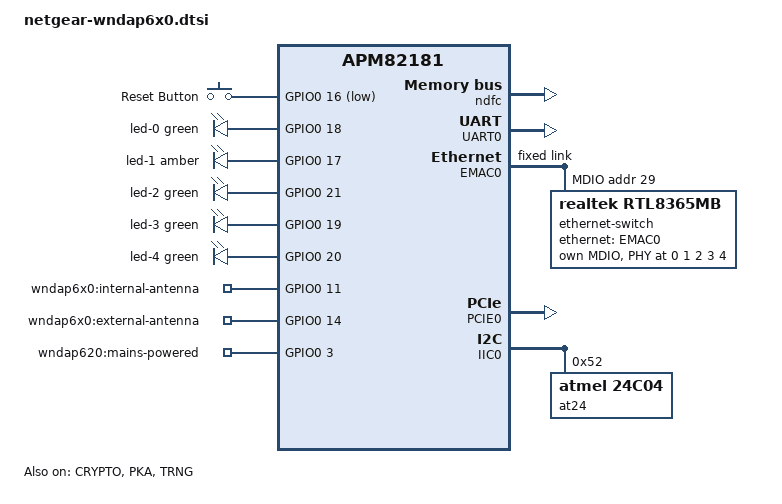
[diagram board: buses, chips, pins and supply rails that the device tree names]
// SPDX-License-Identifier: GPL-2.0-only
/*
 * Device Tree Source for Netgear WNDAP620 and WNDAP660
 */

#include <dt-bindings/leds/common.h>
#include "apm82181.dtsi"

/ {
	aliases {
		serial0 = &UART0;
	};

	chosen {
		stdout-path = "/plb/opb/serial@ef600300";
	};
};

&CRYPTO {
	status = "okay";
};

&PKA {
	status = "okay";
};

&TRNG {
	status = "okay";
};

&ndfc {
	status = "okay";
	/* 32 MiB SLC NAND Flash */

	nand {
		nand-is-boot-medium;

		partitions {
			compatible = "fixed-partitions";
			#address-cells = <1>;
			#size-cells = <1>;

			partition@0 {
				label = "u-boot";
				reg = <0x00000000 0x00100000>;
				read-only;
			};

			partition@100000 {
				label = "u-boot-env";
				reg = <0x00100000 0x0004000>;
				read-only;

				nvmem-layout {
					compatible = "u-boot,env";

					ethaddr {
					};

					bootcmd {
					};

					serno {
					};

					ProductID {
					};

					HardwareVer {
					};
				};
			};

			/* 0x104000 - 0x10ffff free */

			partition@110000 {
				label = "firmware";
				reg = <0x00110000 0x01ac0000>;

				compatible = "fixed-partitions";
				#address-cells = <1>;
				#size-cells = <1>;

				partition@0 {
					/*
					 * The u-boot bootloader will look at this
					 * offset (0x110000) for an uImage binary.
					 */
					label = "kernel";
					reg = <0x00000000 0x005f0000>;
				};

				partition@5f0000 {
					label = "ubi";
					reg = <0x005f0000 0x014d0000>;
				};
			};

			partition@1bd0000 {
				/*
				 * original vendor device-tree - do not use or
				 * overwrite. The original u-boot also supports
				 * the gzipped legacy monolithic/Multi-File Image
				 * format, which is a better choice.
				 */
				label = "device-tree";
				reg = <0x01bd0000 0x0010000>;
				read-only;
			};

			partition@1be0000 {
				label = "var";
				reg = <0x01be0000 0x00400000>;
				read-only;
			};

			partition@1fe0000 {
				label = "manudata";
				reg = <0x01fe0000 0x00020000>;
				read-only;
			};
		};
	};
};

&UART0 {
	status = "okay";
};

&GPIO0 {
	status = "okay";
};

&EMAC0 {
	status = "okay";

	fixed-link {
		speed = <1000>;
		full-duplex;
		pause;
		asym-pause;
	};

	mdio0: mdio {
		#address-cells = <1>;
		#size-cells = <0>;

		ethernet-switch@1d {
			compatible = "realtek,rtl8365mb";
			reg = <0x1d>;

			mdio {
				#address-cells = <1>;
				#size-cells = <0>;

				phy0: ethernet-phy@0 {
					reg = <0>;
				};

				phy1: ethernet-phy@1 {
					reg = <1>;
				};

				phy2: ethernet-phy@2 {
					reg = <2>;
				};

				phy3: ethernet-phy@3 {
					reg = <3>;
				};

				phy4: ethernet-phy@4 {
					reg = <4>;
				};
			};

			rtl_ports: ethernet-ports {
				#address-cells = <1>;
				#size-cells = <0>;

				ethernet-port@5 {
					reg = <5>;
					ethernet = <&EMAC0>;
					phy-mode = "rgmii";
					tx-internal-delay-ps = <2000>;
					rx-internal-delay-ps = <2000>;

					fixed-link {
						speed = <1000>;
						full-duplex;
					};
				};
			};
		};
	};
};

&POB0 {
	keys {
		compatible = "gpio-keys";

		button-restart {
			label = "Reset Button";
			gpios = <&GPIO0 16 GPIO_ACTIVE_LOW>;
			linux,code = <KEY_RESTART>;
			interrupt-parent = <&UIC1>;
			interrupts = <0x15 IRQ_TYPE_EDGE_FALLING>;
			debounce-interval = <60>;
		};
	};

	LEDS: leds {
		compatible = "gpio-leds";

		led-0 {
			color = <LED_COLOR_ID_GREEN>;
			function = LED_FUNCTION_POWER;
			gpios = <&GPIO0 18 GPIO_ACTIVE_HIGH>;
		};

		led-1 {
			color = <LED_COLOR_ID_AMBER>;
			function = LED_FUNCTION_FAULT;
			gpios = <&GPIO0 17 GPIO_ACTIVE_HIGH>;
			panic-indicator;
		};

		led-2 {
			color = <LED_COLOR_ID_GREEN>;
			function = LED_FUNCTION_LAN;
			function-enumerator = <0>;
			gpios = <&GPIO0 21 GPIO_ACTIVE_HIGH>;
		};

		led-3 {
			color = <LED_COLOR_ID_GREEN>;
			function = LED_FUNCTION_WLAN;
			function-enumerator = <0>;
			gpios = <&GPIO0 19 GPIO_ACTIVE_HIGH>;
		};

		led-4 {
			color = <LED_COLOR_ID_GREEN>;
			function = LED_FUNCTION_WLAN;
			function-enumerator = <1>;
			gpios = <&GPIO0 20 GPIO_ACTIVE_HIGH>;
		};
	};

	gpio-export {
		compatible = "gpio-export";

		internal-antenna {
			gpio-export,name = "wndap6x0:internal-antenna";
			gpio-export,output = <1>;
			gpios = <&GPIO0 11 GPIO_ACTIVE_HIGH>;
		};

		external-antenna {
			gpio-export,name = "wndap6x0:external-antenna";
			gpio-export,output = <0>;
			gpios = <&GPIO0 14 GPIO_ACTIVE_HIGH>;
		};

		mains-powered {
			/*
			 * Input pin describing what powers the AP
			 * 0/Low = PoE
			 * 1/High = 12v mains powered
			 */
			gpio-export,name = "wndap620:mains-powered";
			gpios = <&GPIO0 3 GPIO_ACTIVE_HIGH>;
		};
	};

};

&PCIE0 {
	status = "okay";
};

&IIC0 {
	status = "okay";

	at24@52 {
		compatible = "atmel,24c04";
		reg = <0x52>;
		pagesize = <16>;
		read-only;
	};
};
